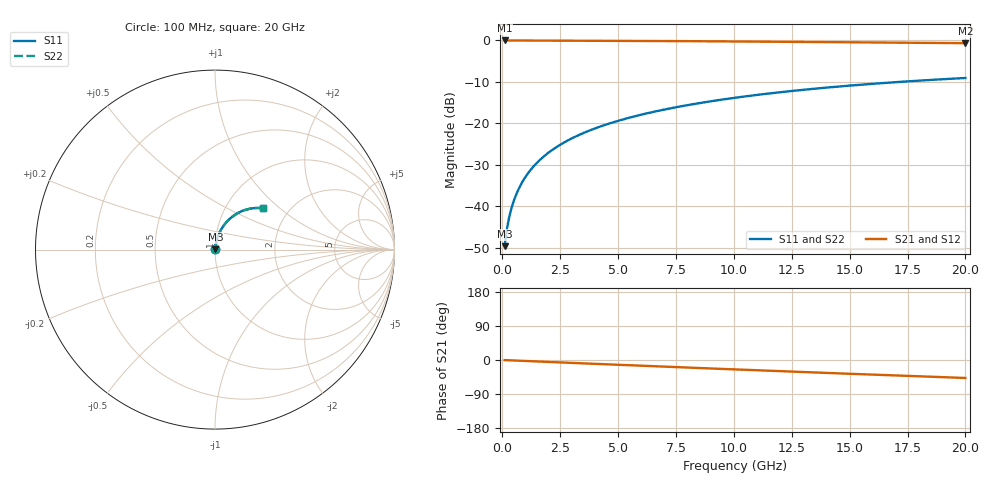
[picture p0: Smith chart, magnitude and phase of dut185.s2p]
! Touchstone file exported from HFSS 2026.1.0
!  File:  C:/ffzhzh/LocalFiles/Ansys_Project_Files/temp_train_TMRDL_185_1782983701_6248.aedt
!  Generated:  05:16:22 PM Jul  2, 2026
!  Design:  TMRDL
!  Project:  temp_train_TMRDL_185_1782983701_6248
! Variables:
!  h_bsmrdl = 2um
!  h_ox = 20um
!  h_rdl = 5um
!  h_sub = 80um
!  h_tmrdl = 4.96um
!  h_tsv = 80um
!  h_via = 3um
!  l_bsmrdl = 300um
!  l_sub = 1147.22um
!  l_tmrdl = 747.22um
!  m_sub = 200um
!  pitch = 51.41um
!  r_tsv = 6um
!  s_tmrdl = 10um
!  w_bsmrdl = 18um
!  w_sub = 500um
!  w_tmrdl = 27.6um
!  x_tsv_center1 = 761.02um
!  x_tsv_center2 = 1079.02um
!  x_tsv_center3 = 1853.84um
!  x_tsv_center4 = 2171.84um
!  x_tsv_center5 = 2946.66um
!  x_tsv_center6 = 3264.66um
# GHz S MA R 50.000000
! Terminal data exported
! Port[1] = TM_RDL1_1_T1
! Port[2] = TM_RDL1_1_T2
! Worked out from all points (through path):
!   200 points, 100 MHz to 20 GHz, reference 50 ohm
!   highest |S21| = -0.02 dB at 100 MHz (marker M1); lowest = -0.7 dB at 20 GHz (marker M2)
!   group delay of S21, straight-line fit = 6.58 ps
!   lowest |S11| = -49.6 dB at 100 MHz (marker M3), VSWR 1.01, Z = 50.2 + j0.249 ohm
!   |S11| at or under -10 dB: start of sweep to 17.19 GHz
!   |S22| runs from -49.6 to -9.1 dB; largest |S21 - S12| = 1.6e-14
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0.1  0.003298 48.7  0.9978 -0.3  0.9978 -0.3  0.003298 48.7
! Gamma 0 0 0 0
! Port Impedance 50 0 50 0
0.2  0.005348 63.2  0.9976 -0.5  0.9976 -0.5  0.005348 63.2
0.3  0.007444 69.5  0.9975 -0.8  0.9975 -0.8  0.007444 69.5
0.4  0.009557 73.1  0.9974 -1.0  0.9974 -1.0  0.009557 73.1
0.5  0.01169 75.5  0.9973 -1.3  0.9973 -1.3  0.01169 75.5
0.6  0.01384 77.1  0.9972 -1.6  0.9972 -1.6  0.01384 77.1
0.8  0.01818 79.0  0.997 -2.1  0.997 -2.1  0.01818 79.0
1.1  0.02474 80.3  0.9967 -2.8  0.9967 -2.8  0.02474 80.3
1.5  0.03347 80.7  0.9963 -3.9  0.9963 -3.9  0.03347 80.7
1.8  0.04 80.5  0.9958 -4.6  0.9958 -4.6  0.04 80.5
2.1  0.0465 80.2  0.9953 -5.4  0.9953 -5.4  0.0465 80.2
2.7  0.05937 79.1  0.9941 -6.9  0.9941 -6.9  0.05937 79.1
3.5  0.07625 77.5  0.9923 -8.9  0.9923 -8.9  0.07625 77.5
4.2  0.09076 76.0  0.9905 -10.6  0.9905 -10.6  0.09076 76.0
5  0.1071 74.2  0.9883 -12.6  0.9883 -12.6  0.1071 74.2
5.9  0.125 72.2  0.9856 -14.8  0.9856 -14.8  0.125 72.2
6.8  0.1427 70.1  0.9827 -17.0  0.9827 -17.0  0.1427 70.1
8.3  0.1713 66.7  0.9774 -20.7  0.9774 -20.7  0.1713 66.7
10.1  0.2041 62.6  0.9704 -25.0  0.9704 -25.0  0.2042 62.6
13.4  0.26 55.2  0.9561 -32.7  0.9561 -32.7  0.26 55.2
16.7  0.3094 48.0  0.9407 -40.2  0.9407 -40.2  0.3094 48.0
20  0.3521 40.9  0.9253 -47.4  0.9253 -47.4  0.3521 40.9
